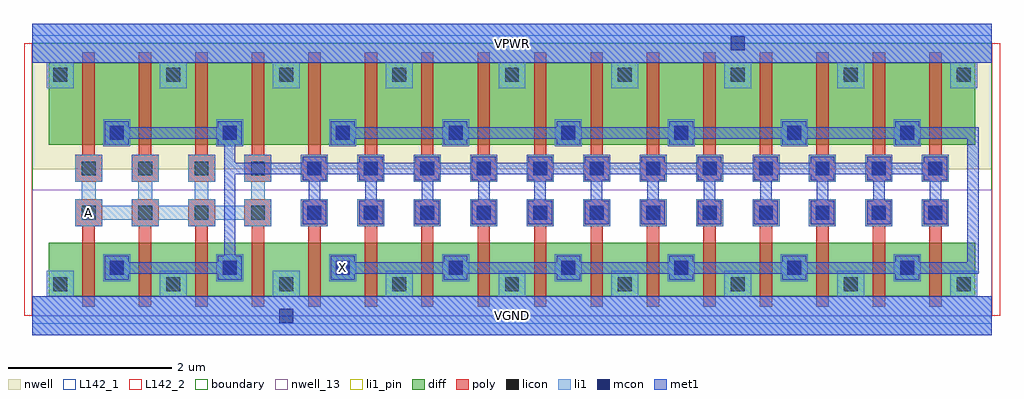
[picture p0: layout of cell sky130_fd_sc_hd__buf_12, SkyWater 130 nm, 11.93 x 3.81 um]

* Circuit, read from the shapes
.subckt sky130_fd_sc_hd__buf_12 A VGND VPWR X
XM1 n1 A VGND VSUBS sky130_fd_pr__nfet_01v8 w=0.65 l=0.15 m=4
XM2 X n1 VGND VSUBS sky130_fd_pr__nfet_01v8 w=0.65 l=0.15 m=12
XM3 n1 A VPWR n2 sky130_fd_pr__pfet_01v8 w=1 l=0.15 m=4
XM4 X n1 VPWR n2 sky130_fd_pr__pfet_01v8 w=1 l=0.15 m=12
.ends

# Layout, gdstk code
import gdstk
lib = gdstk.Library(unit=1e-6, precision=1e-09)
def R(c, l, rs):  # rectangles x0, y0, x1, y1
    for r in rs: c.add(gdstk.rectangle(r[:2], r[2:], *l))
def A(c, l, x, y, w, h, nx, ny, dx, dy):  # array of equal rectangles
    R(c, l, [(x+i*dx, y+j*dy, x+i*dx+w, y+j*dy+h) for i in range(nx) for j in range(ny)])
def P(c, l, *ps):  # polygons
    for p in ps: c.add(gdstk.Polygon(p, *l))
nwell_13 = (64, 13)
nwell = (64, 20)
diff = (65, 20)
poly = (66, 20)
licon = (66, 44)
li1_pin = (67, 16)
li1 = (67, 20)
mcon = (67, 44)
met1 = (68, 20)
L142_1 = (142, 1)
L142_2 = (142, 2)
boundary = (235, 4)

sky130_fd_sc_hd__buf_12 = lib.new_cell('sky130_fd_sc_hd__buf_12')
R(sky130_fd_sc_hd__buf_12, nwell_13, [(0,0,11.73,1.54)])
R(sky130_fd_sc_hd__buf_12, nwell, [(0,1.79,11.73,3.33)])
A(sky130_fd_sc_hd__buf_12, diff, 0.615, 0.24, 0.69, 0.65, 15, 1, 0.69, 0)
A(sky130_fd_sc_hd__buf_12, diff, 0.615, 2.09, 0.69, 1, 15, 1, 0.69, 0)
R(sky130_fd_sc_hd__buf_12, diff, [(0.2,0.24,11.53,0.89), (0.2,0.24,0.615,0.89), (10.965,0.24,11.53,0.89), (0.2,2.09,11.53,3.09), (0.2,2.09,0.615,3.09), (10.965,2.09,11.53,3.09)])
P(sky130_fd_sc_hd__buf_12, poly, [(0.615,0.11),(0.615,1.095),(0.525,1.095),(0.525,1.425),(0.855,1.425),(0.855,1.095),(0.765,1.095),(0.765,0.11)],
  [(1.305,0.11),(1.305,1.095),(1.215,1.095),(1.215,1.425),(1.545,1.425),(1.545,1.095),(1.455,1.095),(1.455,0.11)],
  [(1.995,0.11),(1.995,1.095),(1.905,1.095),(1.905,1.425),(2.235,1.425),(2.235,1.095),(2.145,1.095),(2.145,0.11)],
  [(2.685,0.11),(2.685,1.095),(2.595,1.095),(2.595,1.425),(2.925,1.425),(2.925,1.095),(2.835,1.095),(2.835,0.11)],
  [(0.525,1.635),(0.525,1.965),(0.615,1.965),(0.615,3.22),(0.765,3.22),(0.765,1.965),(0.855,1.965),(0.855,1.635)],
  [(1.215,1.635),(1.215,1.965),(1.305,1.965),(1.305,3.22),(1.455,3.22),(1.455,1.965),(1.545,1.965),(1.545,1.635)],
  [(1.905,1.635),(1.905,1.965),(1.995,1.965),(1.995,3.22),(2.145,3.22),(2.145,1.965),(2.235,1.965),(2.235,1.635)],
  [(2.595,1.635),(2.595,1.965),(2.685,1.965),(2.685,3.22),(2.835,3.22),(2.835,1.965),(2.925,1.965),(2.925,1.635)],
  [(3.375,0.11),(3.375,1.095),(3.285,1.095),(3.285,1.425),(3.615,1.425),(3.615,1.095),(3.525,1.095),(3.525,0.11)],
  [(4.065,0.11),(4.065,1.095),(3.975,1.095),(3.975,1.425),(4.305,1.425),(4.305,1.095),(4.215,1.095),(4.215,0.11)],
  [(4.755,0.11),(4.755,1.095),(4.665,1.095),(4.665,1.425),(4.995,1.425),(4.995,1.095),(4.905,1.095),(4.905,0.11)],
  [(5.445,0.11),(5.445,1.095),(5.355,1.095),(5.355,1.425),(5.685,1.425),(5.685,1.095),(5.595,1.095),(5.595,0.11)],
  [(6.135,0.11),(6.135,1.095),(6.045,1.095),(6.045,1.425),(6.375,1.425),(6.375,1.095),(6.285,1.095),(6.285,0.11)],
  [(6.825,0.11),(6.825,1.095),(6.735,1.095),(6.735,1.425),(7.065,1.425),(7.065,1.095),(6.975,1.095),(6.975,0.11)],
  [(7.515,0.11),(7.515,1.095),(7.425,1.095),(7.425,1.425),(7.755,1.425),(7.755,1.095),(7.665,1.095),(7.665,0.11)],
  [(8.205,0.11),(8.205,1.095),(8.115,1.095),(8.115,1.425),(8.445,1.425),(8.445,1.095),(8.355,1.095),(8.355,0.11)],
  [(8.895,0.11),(8.895,1.095),(8.805,1.095),(8.805,1.425),(9.135,1.425),(9.135,1.095),(9.045,1.095),(9.045,0.11)],
  [(9.585,0.11),(9.585,1.095),(9.495,1.095),(9.495,1.425),(9.825,1.425),(9.825,1.095),(9.735,1.095),(9.735,0.11)],
  [(10.275,0.11),(10.275,1.095),(10.185,1.095),(10.185,1.425),(10.515,1.425),(10.515,1.095),(10.425,1.095),(10.425,0.11)],
  [(10.965,0.11),(10.965,1.095),(10.875,1.095),(10.875,1.425),(11.205,1.425),(11.205,1.095),(11.115,1.095),(11.115,0.11)],
  [(3.285,1.635),(3.285,1.965),(3.375,1.965),(3.375,3.22),(3.525,3.22),(3.525,1.965),(3.615,1.965),(3.615,1.635)],
  [(3.975,1.635),(3.975,1.965),(4.065,1.965),(4.065,3.22),(4.215,3.22),(4.215,1.965),(4.305,1.965),(4.305,1.635)],
  [(4.665,1.635),(4.665,1.965),(4.755,1.965),(4.755,3.22),(4.905,3.22),(4.905,1.965),(4.995,1.965),(4.995,1.635)],
  [(5.355,1.635),(5.355,1.965),(5.445,1.965),(5.445,3.22),(5.595,3.22),(5.595,1.965),(5.685,1.965),(5.685,1.635)],
  [(6.045,1.635),(6.045,1.965),(6.135,1.965),(6.135,3.22),(6.285,3.22),(6.285,1.965),(6.375,1.965),(6.375,1.635)],
  [(6.735,1.635),(6.735,1.965),(6.825,1.965),(6.825,3.22),(6.975,3.22),(6.975,1.965),(7.065,1.965),(7.065,1.635)],
  [(7.425,1.635),(7.425,1.965),(7.515,1.965),(7.515,3.22),(7.665,3.22),(7.665,1.965),(7.755,1.965),(7.755,1.635)],
  [(8.115,1.635),(8.115,1.965),(8.205,1.965),(8.205,3.22),(8.355,3.22),(8.355,1.965),(8.445,1.965),(8.445,1.635)],
  [(8.805,1.635),(8.805,1.965),(8.895,1.965),(8.895,3.22),(9.045,3.22),(9.045,1.965),(9.135,1.965),(9.135,1.635)],
  [(9.495,1.635),(9.495,1.965),(9.585,1.965),(9.585,3.22),(9.735,3.22),(9.735,1.965),(9.825,1.965),(9.825,1.635)],
  [(10.185,1.635),(10.185,1.965),(10.275,1.965),(10.275,3.22),(10.425,3.22),(10.425,1.965),(10.515,1.965),(10.515,1.635)],
  [(10.875,1.635),(10.875,1.965),(10.965,1.965),(10.965,3.22),(11.115,3.22),(11.115,1.965),(11.205,1.965),(11.205,1.635)])
A(sky130_fd_sc_hd__buf_12, licon, 0.26, 0.3, 0.17, 0.17, 9, 2, 1.38, 2.56)
A(sky130_fd_sc_hd__buf_12, licon, 0.95, 0.5, 0.17, 0.17, 8, 2, 1.38, 1.65)
A(sky130_fd_sc_hd__buf_12, licon, 0.605, 1.175, 0.17, 0.17, 16, 2, 0.69, 0.54)
R(sky130_fd_sc_hd__buf_12, li1_pin, [(0,-0.24,11.73,0.24), (3.63,0.42,3.96,0.75), (0,3.09,11.73,3.57)])
P(sky130_fd_sc_hd__buf_12, li1_pin, [(0.525,1.095),(0.525,1.425),(0.605,1.425),(0.605,1.635),(0.525,1.635),(0.525,1.965),(0.855,1.965),(0.855,1.635),(0.775,1.635),(0.775,1.425),(0.855,1.425),(0.855,1.345),(1.215,1.345),(1.215,1.425),(1.295,1.425),(1.295,1.635),(1.215,1.635),(1.215,1.965),(1.545,1.965),(1.545,1.635),(1.465,1.635),(1.465,1.425),(1.545,1.425),(1.545,1.345),(1.905,1.345),(1.905,1.425),(1.985,1.425),(1.985,1.635),(1.905,1.635),(1.905,1.965),(2.235,1.965),(2.235,1.635),(2.155,1.635),(2.155,1.425),(2.235,1.425),(2.235,1.345),(2.595,1.345),(2.595,1.425),(2.675,1.425),(2.675,1.635),(2.595,1.635),(2.595,1.965),(2.925,1.965),(2.925,1.635),(2.845,1.635),(2.845,1.425),(2.925,1.425),(2.925,1.095),(2.595,1.095),(2.595,1.175),(2.235,1.175),(2.235,1.095),(1.905,1.095),(1.905,1.175),(1.545,1.175),(1.545,1.095),(1.215,1.095),(1.215,1.175),(0.855,1.175),(0.855,1.095)])
A(sky130_fd_sc_hd__buf_12, li1, 0.87, 0.42, 0.33, 0.33, 8, 2, 1.38, 1.65)
A(sky130_fd_sc_hd__buf_12, li1, 3.285, 1.095, 0.33, 0.33, 12, 2, 0.69, 0.54)
P(sky130_fd_sc_hd__buf_12, li1, [(0.18,2.78),(0.18,3.09),(0,3.09),(0,3.57),(11.73,3.57),(11.73,3.09),(11.55,3.09),(11.55,2.78),(11.22,2.78),(11.22,3.09),(10.17,3.09),(10.17,2.78),(9.84,2.78),(9.84,3.09),(8.79,3.09),(8.79,2.78),(8.46,2.78),(8.46,3.09),(7.41,3.09),(7.41,2.78),(7.08,2.78),(7.08,3.09),(6.03,3.09),(6.03,2.78),(5.7,2.78),(5.7,3.09),(4.65,3.09),(4.65,2.78),(4.32,2.78),(4.32,3.09),(3.27,3.09),(3.27,2.78),(2.94,2.78),(2.94,3.09),(1.89,3.09),(1.89,2.78),(1.56,2.78),(1.56,3.09),(0.51,3.09),(0.51,2.78)],
  [(0,-0.24),(0,0.24),(0.18,0.24),(0.18,0.55),(0.51,0.55),(0.51,0.24),(1.56,0.24),(1.56,0.55),(1.89,0.55),(1.89,0.24),(2.94,0.24),(2.94,0.55),(3.27,0.55),(3.27,0.24),(4.32,0.24),(4.32,0.55),(4.65,0.55),(4.65,0.24),(5.7,0.24),(5.7,0.55),(6.03,0.55),(6.03,0.24),(7.08,0.24),(7.08,0.55),(7.41,0.55),(7.41,0.24),(8.46,0.24),(8.46,0.55),(8.79,0.55),(8.79,0.24),(9.84,0.24),(9.84,0.55),(10.17,0.55),(10.17,0.24),(11.22,0.24),(11.22,0.55),(11.55,0.55),(11.55,0.24),(11.73,0.24),(11.73,-0.24)],
  [(0.525,1.095),(0.525,1.425),(0.605,1.425),(0.605,1.635),(0.525,1.635),(0.525,1.965),(0.855,1.965),(0.855,1.635),(0.775,1.635),(0.775,1.425),(0.855,1.425),(0.855,1.345),(1.215,1.345),(1.215,1.425),(1.295,1.425),(1.295,1.635),(1.215,1.635),(1.215,1.965),(1.545,1.965),(1.545,1.635),(1.465,1.635),(1.465,1.425),(1.545,1.425),(1.545,1.345),(1.905,1.345),(1.905,1.425),(1.985,1.425),(1.985,1.635),(1.905,1.635),(1.905,1.965),(2.235,1.965),(2.235,1.635),(2.155,1.635),(2.155,1.425),(2.235,1.425),(2.235,1.345),(2.595,1.345),(2.595,1.425),(2.675,1.425),(2.675,1.635),(2.595,1.635),(2.595,1.965),(2.925,1.965),(2.925,1.635),(2.845,1.635),(2.845,1.425),(2.925,1.425),(2.925,1.095),(2.595,1.095),(2.595,1.175),(2.235,1.175),(2.235,1.095),(1.905,1.095),(1.905,1.175),(1.545,1.175),(1.545,1.095),(1.215,1.095),(1.215,1.175),(0.855,1.175),(0.855,1.095)])
A(sky130_fd_sc_hd__buf_12, mcon, 0.95, 0.5, 0.17, 0.17, 8, 2, 1.38, 1.65)
A(sky130_fd_sc_hd__buf_12, mcon, 3.365, 1.175, 0.17, 0.17, 12, 2, 0.69, 0.54)
R(sky130_fd_sc_hd__buf_12, mcon, [(3.02,-0.085,3.19,0.085), (8.54,3.245,8.71,3.415)])
R(sky130_fd_sc_hd__buf_12, met1, [(0,-0.24,11.73,0.24), (0,3.09,11.73,3.57)])
P(sky130_fd_sc_hd__buf_12, met1, [(0.89,0.44),(0.89,0.73),(1.18,0.73),(1.18,0.655),(2.27,0.655),(2.27,0.73),(2.345,0.73),(2.345,2.09),(2.27,2.09),(2.27,2.165),(1.18,2.165),(1.18,2.09),(0.89,2.09),(0.89,2.38),(1.18,2.38),(1.18,2.305),(2.27,2.305),(2.27,2.38),(2.56,2.38),(2.56,2.09),(2.485,2.09),(2.485,1.87),(3.305,1.87),(3.305,1.945),(3.595,1.945),(3.595,1.87),(3.995,1.87),(3.995,1.945),(4.285,1.945),(4.285,1.87),(4.685,1.87),(4.685,1.945),(4.975,1.945),(4.975,1.87),(5.375,1.87),(5.375,1.945),(5.665,1.945),(5.665,1.87),(6.065,1.87),(6.065,1.945),(6.355,1.945),(6.355,1.87),(6.755,1.87),(6.755,1.945),(7.045,1.945),(7.045,1.87),(7.445,1.87),(7.445,1.945),(7.735,1.945),(7.735,1.87),(8.135,1.87),(8.135,1.945),(8.425,1.945),(8.425,1.87),(8.825,1.87),(8.825,1.945),(9.115,1.945),(9.115,1.87),(9.515,1.87),(9.515,1.945),(9.805,1.945),(9.805,1.87),(10.205,1.87),(10.205,1.945),(10.495,1.945),(10.495,1.87),(10.895,1.87),(10.895,1.945),(11.185,1.945),(11.185,1.655),(11.11,1.655),(11.11,1.405),(11.185,1.405),(11.185,1.115),(10.895,1.115),(10.895,1.405),(10.97,1.405),(10.97,1.655),(10.895,1.655),(10.895,1.73),(10.495,1.73),(10.495,1.655),(10.42,1.655),(10.42,1.405),(10.495,1.405),(10.495,1.115),(10.205,1.115),(10.205,1.405),(10.28,1.405),(10.28,1.655),(10.205,1.655),(10.205,1.73),(9.805,1.73),(9.805,1.655),(9.73,1.655),(9.73,1.405),(9.805,1.405),(9.805,1.115),(9.515,1.115),(9.515,1.405),(9.59,1.405),(9.59,1.655),(9.515,1.655),(9.515,1.73),(9.115,1.73),(9.115,1.655),(9.04,1.655),(9.04,1.405),(9.115,1.405),(9.115,1.115),(8.825,1.115),(8.825,1.405),(8.9,1.405),(8.9,1.655),(8.825,1.655),(8.825,1.73),(8.425,1.73),(8.425,1.655),(8.35,1.655),(8.35,1.405),(8.425,1.405),(8.425,1.115),(8.135,1.115),(8.135,1.405),(8.21,1.405),(8.21,1.655),(8.135,1.655),(8.135,1.73),(7.735,1.73),(7.735,1.655),(7.66,1.655),(7.66,1.405),(7.735,1.405),(7.735,1.115),(7.445,1.115),(7.445,1.405),(7.52,1.405),(7.52,1.655),(7.445,1.655),(7.445,1.73),(7.045,1.73),(7.045,1.655),(6.97,1.655),(6.97,1.405),(7.045,1.405),(7.045,1.115),(6.755,1.115),(6.755,1.405),(6.83,1.405),(6.83,1.655),(6.755,1.655),(6.755,1.73),(6.355,1.73),(6.355,1.655),(6.28,1.655),(6.28,1.405),(6.355,1.405),(6.355,1.115),(6.065,1.115),(6.065,1.405),(6.14,1.405),(6.14,1.655),(6.065,1.655),(6.065,1.73),(5.665,1.73),(5.665,1.655),(5.59,1.655),(5.59,1.405),(5.665,1.405),(5.665,1.115),(5.375,1.115),(5.375,1.405),(5.45,1.405),(5.45,1.655),(5.375,1.655),(5.375,1.73),(4.975,1.73),(4.975,1.655),(4.9,1.655),(4.9,1.405),(4.975,1.405),(4.975,1.115),(4.685,1.115),(4.685,1.405),(4.76,1.405),(4.76,1.655),(4.685,1.655),(4.685,1.73),(4.285,1.73),(4.285,1.655),(4.21,1.655),(4.21,1.405),(4.285,1.405),(4.285,1.115),(3.995,1.115),(3.995,1.405),(4.07,1.405),(4.07,1.655),(3.995,1.655),(3.995,1.73),(3.595,1.73),(3.595,1.655),(3.52,1.655),(3.52,1.405),(3.595,1.405),(3.595,1.115),(3.305,1.115),(3.305,1.405),(3.38,1.405),(3.38,1.655),(3.305,1.655),(3.305,1.73),(2.485,1.73),(2.485,0.73),(2.56,0.73),(2.56,0.44),(2.27,0.44),(2.27,0.515),(1.18,0.515),(1.18,0.44)],
  [(3.65,0.44),(3.65,0.73),(3.94,0.73),(3.94,0.655),(5.03,0.655),(5.03,0.73),(5.32,0.73),(5.32,0.655),(6.41,0.655),(6.41,0.73),(6.7,0.73),(6.7,0.655),(7.79,0.655),(7.79,0.73),(8.08,0.73),(8.08,0.655),(9.17,0.655),(9.17,0.73),(9.46,0.73),(9.46,0.655),(10.55,0.655),(10.55,0.73),(10.84,0.73),(10.84,0.655),(11.43,0.655),(11.43,2.165),(10.84,2.165),(10.84,2.09),(10.55,2.09),(10.55,2.165),(9.46,2.165),(9.46,2.09),(9.17,2.09),(9.17,2.165),(8.08,2.165),(8.08,2.09),(7.79,2.09),(7.79,2.165),(6.7,2.165),(6.7,2.09),(6.41,2.09),(6.41,2.165),(5.32,2.165),(5.32,2.09),(5.03,2.09),(5.03,2.165),(3.94,2.165),(3.94,2.09),(3.65,2.09),(3.65,2.38),(3.94,2.38),(3.94,2.305),(5.03,2.305),(5.03,2.38),(5.32,2.38),(5.32,2.305),(6.41,2.305),(6.41,2.38),(6.7,2.38),(6.7,2.305),(7.79,2.305),(7.79,2.38),(8.08,2.38),(8.08,2.305),(9.17,2.305),(9.17,2.38),(9.46,2.38),(9.46,2.305),(10.55,2.305),(10.55,2.38),(10.84,2.38),(10.84,2.305),(11.57,2.305),(11.57,0.515),(10.84,0.515),(10.84,0.44),(10.55,0.44),(10.55,0.515),(9.46,0.515),(9.46,0.44),(9.17,0.44),(9.17,0.515),(8.08,0.515),(8.08,0.44),(7.79,0.44),(7.79,0.515),(6.7,0.515),(6.7,0.44),(6.41,0.44),(6.41,0.515),(5.32,0.515),(5.32,0.44),(5.03,0.44),(5.03,0.515),(3.94,0.515),(3.94,0.44)])
R(sky130_fd_sc_hd__buf_12, L142_1, [(0,-0.1,11.73,0), (0,3.33,11.73,3.43)])
R(sky130_fd_sc_hd__buf_12, L142_2, [(-0.1,0,0,3.33), (11.73,0,11.83,3.33)])
R(sky130_fd_sc_hd__buf_12, boundary, [(0,0,11.73,3.33)])
sky130_fd_sc_hd__buf_12.add(gdstk.Label('X', (3.795,0.585), layer=67, texttype=5))
sky130_fd_sc_hd__buf_12.add(gdstk.Label('A', (0.69,1.26), layer=67, texttype=5))
sky130_fd_sc_hd__buf_12.add(gdstk.Label('VGND', (5.865,0), layer=67, texttype=5))
sky130_fd_sc_hd__buf_12.add(gdstk.Label('VPWR', (5.865,3.33), layer=67, texttype=5))
sky130_fd_sc_hd__buf_12.add(gdstk.Label('VGND', (5.865,0), layer=68, texttype=5))
sky130_fd_sc_hd__buf_12.add(gdstk.Label('VPWR', (5.865,3.33), layer=68, texttype=5))

lib.write_gds('sky130_fd_sc_hd__buf_12.gds')
